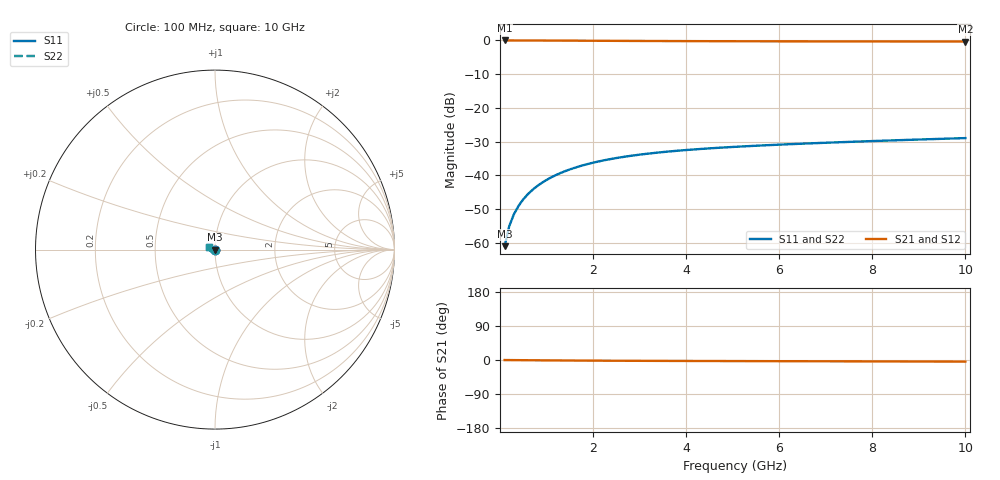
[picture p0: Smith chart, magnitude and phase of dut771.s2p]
! Touchstone file exported from HFSS 2024.1.0
!  File:  C:/UserFiles/LocalFiles/RDL_TSV_Batchsim/temp_TSV1_771_1779873439.aedt
!  Generated:  05:24:03 PM May 27, 2026
!  Design:  TSV1
!  Project:  temp_TSV1_771_1779873439
!  Setup:  Setup1
!  Solution:  Sweep
! Variables:
!  dtsv = 9.97um
!  hbump = 3um
!  htsv = 61.76um
!  lrdl = 252.1521522um
!  p = 40
!  p1 = 58.74um
!  t = 500um
!  trdl = 3um
!  wrdl = 24.89489489um
# GHz S MA R 50.000000
! Terminal data exported
! Port[1] = TSV22_T1
! Port[2] = TSV22_T2
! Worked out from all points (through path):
!   100 points, 100 MHz to 10 GHz, reference 50 ohm
!   highest |S21| = 0.00 dB at 100 MHz (marker M1); lowest = -0.3 dB at 10 GHz (marker M2)
!   lowest |S11| = -61.0 dB at 100 MHz (marker M3), VSWR 1.00, Z = 50 - j0.0885 ohm
!   |S11| at or under -10 dB: start of sweep to end of sweep
!   |S22| runs from -61.0 to -29.0 dB; largest |S21 - S12| = 8.7e-15
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0.1  0.0008899 -84.2  0.9998 -0.1  0.9998 -0.1  0.0008899 -84.2
! Gamma 0 0 0 0
! Port Impedance 50 0 50 0
0.2  0.001769 -90.1  0.9997 -0.2  0.9997 -0.2  0.001769 -90.1
0.3  0.002651 -93.6  0.9995 -0.3  0.9995 -0.3  0.002651 -93.6
0.4  0.003528 -96.5  0.9993 -0.4  0.9993 -0.4  0.003528 -96.5
0.5  0.004397 -99.0  0.999 -0.5  0.999 -0.5  0.004397 -99.0
0.6  0.005255 -101.5  0.9986 -0.6  0.9986 -0.6  0.005255 -101.5
0.7  0.006099 -103.8  0.9982 -0.7  0.9982 -0.7  0.006099 -103.8
0.8  0.00693 -106.1  0.9977 -0.8  0.9977 -0.8  0.00693 -106.1
0.9  0.007744 -108.3  0.9972 -0.9  0.9972 -0.9  0.007744 -108.3
1.1  0.009317 -112.6  0.996 -1.1  0.996 -1.1  0.009317 -112.6
1.4  0.01153 -118.7  0.9941 -1.3  0.9941 -1.3  0.01153 -118.7
1.6  0.0129 -122.5  0.9927 -1.4  0.9927 -1.4  0.0129 -122.5
1.8  0.01418 -126.2  0.9912 -1.6  0.9912 -1.6  0.01418 -126.2
2.1  0.01595 -131.4  0.989 -1.7  0.989 -1.7  0.01595 -131.4
2.5  0.01803 -137.9  0.9862 -2.0  0.9862 -2.0  0.01803 -137.9
2.9  0.01984 -143.8  0.9835 -2.1  0.9835 -2.1  0.01984 -143.8
3.4  0.02177 -150.5  0.9805 -2.3  0.9805 -2.3  0.02177 -150.5
4.2  0.02429 -159.8  0.9765 -2.6  0.9765 -2.6  0.02429 -159.8
5.1  0.02656 -168.7  0.9731 -2.9  0.9731 -2.9  0.02656 -168.7
6.7  0.02985 178.4  0.9688 -3.3  0.9688 -3.3  0.02985 178.4
8.4  0.0329 167.5  0.966 -3.8  0.966 -3.8  0.0329 167.5
10  0.03566 159.1  0.9642 -4.3  0.9642 -4.3  0.03566 159.1
